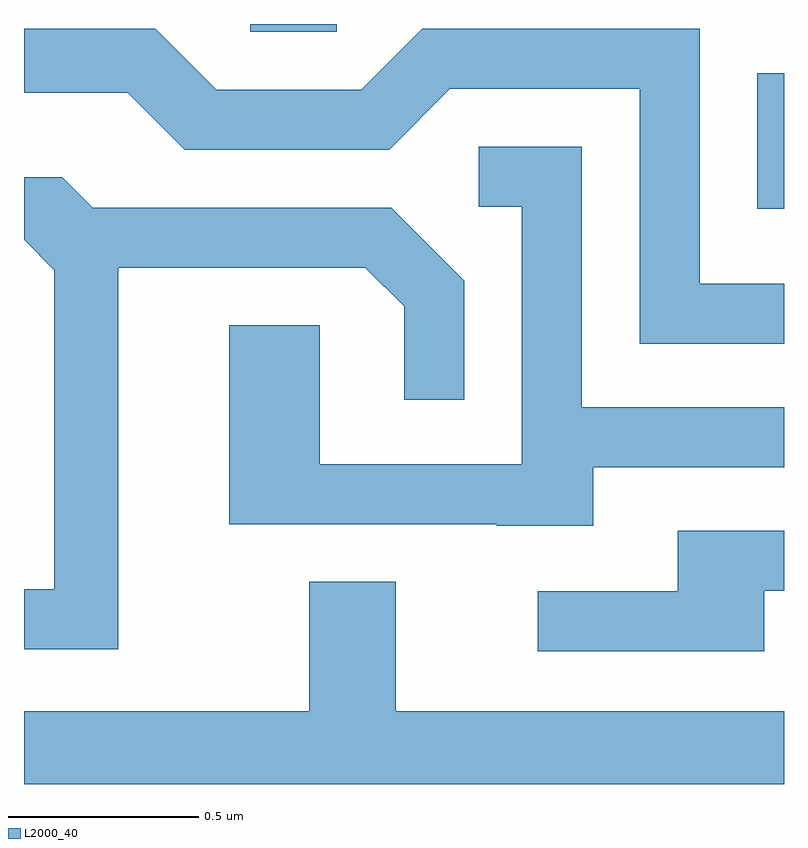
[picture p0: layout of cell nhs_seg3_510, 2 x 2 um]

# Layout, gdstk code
import gdstk
lib = gdstk.Library(unit=1e-6, precision=1e-09)
def R(c, l, rs):  # rectangles x0, y0, x1, y1
    for r in rs: c.add(gdstk.rectangle(r[:2], r[2:], *l))
def P(c, l, *ps):  # polygons
    for p in ps: c.add(gdstk.Polygon(p, *l))
L2000_40 = (2000, 40)

nhs_seg3_510 = lib.new_cell('nhs_seg3_510')
R(nhs_seg3_510, L2000_40, [(190.541,1216.406,190.611,1216.763), (189.206,1216.871,189.434,1216.892)])
P(nhs_seg3_510, L2000_40, [(190.611,1216.209),(190.389,1216.209),(190.389,1216.879),(189.659,1216.879),(189.499,1216.719),(189.117,1216.719),(188.957,1216.879),(188.611,1216.879),(188.611,1216.711),(188.884,1216.711),(189.034,1216.561),(189.572,1216.561),(189.732,1216.721),(190.231,1216.721),(190.231,1216.051),(190.611,1216.051)],
  [(190.109,1215.726),(190.611,1215.726),(190.611,1215.884),(190.079,1215.884),(190.079,1216.569),(189.808,1216.569),(189.808,1216.411),(189.921,1216.411),(189.921,1215.734),(189.389,1215.734),(189.389,1216.099),(189.151,1216.099),(189.151,1215.576),(189.855,1215.576),(189.855,1215.571),(190.109,1215.571)],
  [(188.859,1216.251),(189.509,1216.251),(189.611,1216.149),(189.611,1215.903),(189.769,1215.903),(189.769,1216.217),(189.577,1216.409),(188.792,1216.409),(188.712,1216.489),(188.611,1216.489),(188.611,1216.324),(188.691,1216.244),(188.691,1215.404),(188.611,1215.404),(188.611,1215.246),(188.859,1215.246)],
  [(190.559,1215.401),(190.611,1215.401),(190.611,1215.559),(190.331,1215.559),(190.331,1215.399),(189.963,1215.399),(189.963,1215.241),(190.559,1215.241)],
  [(190.611,1215.084),(189.589,1215.084),(189.589,1215.424),(189.361,1215.424),(189.361,1215.084),(188.611,1215.084),(188.611,1214.892),(190.611,1214.892)])

lib.write_gds('nhs_seg3_510.gds')
